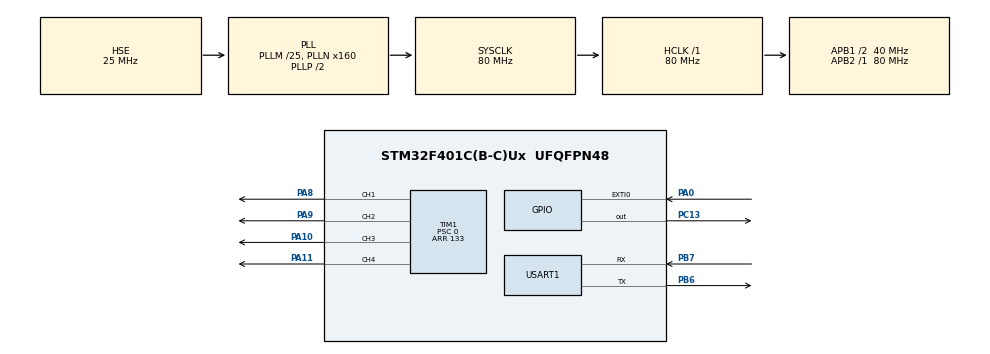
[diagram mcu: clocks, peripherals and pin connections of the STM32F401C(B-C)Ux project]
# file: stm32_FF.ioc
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Dma.MEMTOMEM.2.Direction=DMA_MEMORY_TO_MEMORY
Dma.MEMTOMEM.2.FIFOMode=DMA_FIFOMODE_ENABLE
Dma.MEMTOMEM.2.FIFOThreshold=DMA_FIFO_THRESHOLD_FULL
Dma.MEMTOMEM.2.Instance=DMA2_Stream0
Dma.MEMTOMEM.2.MemBurst=DMA_MBURST_SINGLE
Dma.MEMTOMEM.2.MemDataAlignment=DMA_MDATAALIGN_BYTE
Dma.MEMTOMEM.2.MemInc=DMA_MINC_ENABLE
Dma.MEMTOMEM.2.Mode=DMA_NORMAL
Dma.MEMTOMEM.2.PeriphBurst=DMA_PBURST_SINGLE
Dma.MEMTOMEM.2.PeriphDataAlignment=DMA_PDATAALIGN_BYTE
Dma.MEMTOMEM.2.PeriphInc=DMA_PINC_DISABLE
Dma.MEMTOMEM.2.Priority=DMA_PRIORITY_LOW
Dma.Request0=USART1_RX
Dma.Request1=USART1_TX
Dma.Request2=MEMTOMEM
Dma.Request3=TIM1_CH1
Dma.Request4=TIM1_CH2
Dma.Request5=TIM1_CH3
Dma.Request6=TIM1_CH4/TRIG/COM
Dma.TIM1_CH1.3.Direction=DMA_MEMORY_TO_PERIPH
Dma.TIM1_CH1.3.FIFOMode=DMA_FIFOMODE_DISABLE
Dma.TIM1_CH1.3.Instance=DMA2_Stream1
Dma.TIM1_CH1.3.MemDataAlignment=DMA_MDATAALIGN_HALFWORD
Dma.TIM1_CH1.3.MemInc=DMA_MINC_ENABLE
Dma.TIM1_CH1.3.Mode=DMA_NORMAL
Dma.TIM1_CH1.3.PeriphDataAlignment=DMA_PDATAALIGN_HALFWORD
Dma.TIM1_CH1.3.PeriphInc=DMA_PINC_DISABLE
Dma.TIM1_CH1.3.Priority=DMA_PRIORITY_HIGH
Dma.TIM1_CH2.4.Direction=DMA_MEMORY_TO_PERIPH
Dma.TIM1_CH2.4.FIFOMode=DMA_FIFOMODE_DISABLE
Dma.TIM1_CH2.4.Instance=DMA2_Stream2
Dma.TIM1_CH2.4.MemDataAlignment=DMA_MDATAALIGN_HALFWORD
Dma.TIM1_CH2.4.MemInc=DMA_MINC_ENABLE
Dma.TIM1_CH2.4.Mode=DMA_NORMAL
Dma.TIM1_CH2.4.PeriphDataAlignment=DMA_PDATAALIGN_HALFWORD
Dma.TIM1_CH2.4.PeriphInc=DMA_PINC_DISABLE
Dma.TIM1_CH2.4.Priority=DMA_PRIORITY_HIGH
Dma.TIM1_CH3.5.Direction=DMA_MEMORY_TO_PERIPH
Dma.TIM1_CH3.5.FIFOMode=DMA_FIFOMODE_DISABLE
Dma.TIM1_CH3.5.Instance=DMA2_Stream6
Dma.TIM1_CH3.5.MemDataAlignment=DMA_MDATAALIGN_HALFWORD
Dma.TIM1_CH3.5.MemInc=DMA_MINC_ENABLE
Dma.TIM1_CH3.5.Mode=DMA_NORMAL
Dma.TIM1_CH3.5.PeriphDataAlignment=DMA_PDATAALIGN_HALFWORD
Dma.TIM1_CH3.5.PeriphInc=DMA_PINC_DISABLE
Dma.TIM1_CH3.5.Priority=DMA_PRIORITY_HIGH
Dma.TIM1_CH4/TRIG/COM.6.Direction=DMA_MEMORY_TO_PERIPH
Dma.TIM1_CH4/TRIG/COM.6.FIFOMode=DMA_FIFOMODE_DISABLE
Dma.TIM1_CH4/TRIG/COM.6.Instance=DMA2_Stream4
Dma.TIM1_CH4/TRIG/COM.6.MemDataAlignment=DMA_MDATAALIGN_HALFWORD
Dma.TIM1_CH4/TRIG/COM.6.MemInc=DMA_MINC_ENABLE
Dma.TIM1_CH4/TRIG/COM.6.Mode=DMA_NORMAL
Dma.TIM1_CH4/TRIG/COM.6.PeriphDataAlignment=DMA_PDATAALIGN_HALFWORD
Dma.TIM1_CH4/TRIG/COM.6.PeriphInc=DMA_PINC_DISABLE
Dma.TIM1_CH4/TRIG/COM.6.Priority=DMA_PRIORITY_HIGH
Dma.USART1_RX.0.Direction=DMA_PERIPH_TO_MEMORY
Dma.USART1_RX.0.FIFOMode=DMA_FIFOMODE_DISABLE
Dma.USART1_RX.0.Instance=DMA2_Stream5
Dma.USART1_RX.0.MemDataAlignment=DMA_MDATAALIGN_BYTE
Dma.USART1_RX.0.MemInc=DMA_MINC_ENABLE
Dma.USART1_RX.0.Mode=DMA_CIRCULAR
Dma.USART1_RX.0.PeriphDataAlignment=DMA_PDATAALIGN_BYTE
Dma.USART1_RX.0.PeriphInc=DMA_PINC_DISABLE
Dma.USART1_RX.0.Priority=DMA_PRIORITY_MEDIUM
Dma.USART1_TX.1.Direction=DMA_MEMORY_TO_PERIPH
Dma.USART1_TX.1.FIFOMode=DMA_FIFOMODE_DISABLE
Dma.USART1_TX.1.Instance=DMA2_Stream7
Dma.USART1_TX.1.MemDataAlignment=DMA_MDATAALIGN_BYTE
Dma.USART1_TX.1.MemInc=DMA_MINC_ENABLE
Dma.USART1_TX.1.Mode=DMA_NORMAL
Dma.USART1_TX.1.PeriphDataAlignment=DMA_PDATAALIGN_BYTE
Dma.USART1_TX.1.PeriphInc=DMA_PINC_DISABLE
Dma.USART1_TX.1.Priority=DMA_PRIORITY_LOW
Mcu.Family=STM32F4
Mcu.Name=STM32F401C(B-C)Ux
Mcu.Package=UFQFPN48
NVIC.DMA2_Stream1_IRQn=true\:0\:0\:false\:false\:true\:false\:true\:true
NVIC.DMA2_Stream2_IRQn=true\:0\:0\:false\:false\:true\:false\:true\:true
NVIC.DMA2_Stream4_IRQn=true\:0\:0\:false\:false\:true\:false\:true\:true
NVIC.DMA2_Stream5_IRQn=true\:0\:0\:false\:false\:true\:false\:true\:true
NVIC.DMA2_Stream6_IRQn=true\:0\:0\:false\:false\:true\:false\:true\:true
NVIC.DMA2_Stream7_IRQn=true\:0\:0\:false\:false\:true\:false\:true\:true
NVIC.EXTI0_IRQn=true\:0\:0\:false\:false\:true\:true\:true\:true
NVIC.PriorityGroup=NVIC_PRIORITYGROUP_4
NVIC.TIM2_IRQn=true\:0\:0\:false\:false\:true\:true\:true\:true
NVIC.USART1_IRQn=true\:0\:0\:false\:false\:true\:true\:true\:true
PA0-WKUP.GPIO_PuPd=GPIO_PULLUP
PA0-WKUP.Signal=GPXTI0
PA10.Signal=S_TIM1_CH3
PA11.Signal=S_TIM1_CH4
PA13.Mode=Trace_Asynchronous_SW
PA13.Signal=SYS_JTMS-SWDIO
PA14.Mode=Trace_Asynchronous_SW
PA14.Signal=SYS_JTCK-SWCLK
PA8.Signal=S_TIM1_CH1
PA9.Signal=S_TIM1_CH2
PB3.Mode=Trace_Asynchronous_SW
PB3.Signal=SYS_JTDO-SWO
PB6.Mode=Asynchronous
PB6.Signal=USART1_TX
PB7.Mode=Asynchronous
PB7.Signal=USART1_RX
PC13-ANTI_TAMP.Signal=GPIO_Output
PH0\ -\ OSC_IN.Mode=HSE-External-Oscillator
PH0\ -\ OSC_IN.Signal=RCC_OSC_IN
PH1\ -\ OSC_OUT.Mode=HSE-External-Oscillator
PH1\ -\ OSC_OUT.Signal=RCC_OSC_OUT
ProjectManager.HeapSize=0x200
ProjectManager.StackSize=0x400
ProjectManager.TargetToolchain=STM32CubeIDE
RCC.48MHZClocksFreq_Value=40000000
RCC.AHBFreq_Value=80000000
RCC.APB1CLKDivider=RCC_HCLK_DIV2
RCC.APB1Freq_Value=40000000
RCC.APB1TimFreq_Value=80000000
RCC.APB2Freq_Value=80000000
RCC.APB2TimFreq_Value=80000000
RCC.CortexFreq_Value=80000000
RCC.EnbaleCSS=true
RCC.HCLKFreq_Value=80000000
RCC.HSE_VALUE=25000000
RCC.HSI_VALUE=16000000
RCC.LSE_VALUE=32768
RCC.PLLM=25
RCC.PLLN=160
RCC.PLLSourceVirtual=RCC_PLLSOURCE_HSE
RCC.SYSCLKFreq_VALUE=80000000
RCC.SYSCLKSource=RCC_SYSCLKSOURCE_PLLCLK
RCC.VCOOutputFreq_Value=160000000
SH.S_TIM1_CH1.0=TIM1_CH1,PWM Generation1 CH1
SH.S_TIM1_CH2.0=TIM1_CH2,PWM Generation2 CH2
SH.S_TIM1_CH3.0=TIM1_CH3,PWM Generation3 CH3
SH.S_TIM1_CH4.0=TIM1_CH4,PWM Generation4 CH4
TIM1.Channel-PWM\ Generation1\ CH1=TIM_CHANNEL_1
TIM1.Channel-PWM\ Generation2\ CH2=TIM_CHANNEL_2
TIM1.Channel-PWM\ Generation3\ CH3=TIM_CHANNEL_3
TIM1.Channel-PWM\ Generation4\ CH4=TIM_CHANNEL_4
TIM1.Period=133
TIM1.Prescaler=0
TIM2.AutoReloadPreload=TIM_AUTORELOAD_PRELOAD_ENABLE
TIM2.Period=2308
USART1.VirtualMode=VM_ASYNC
VP_TIM2_VS_ClockSourceINT.Mode=Internal
VP_TIM2_VS_ClockSourceITR.Mode=TriggerSource_ITR0
board=custom

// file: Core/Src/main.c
/* USER CODE BEGIN Header */
/**
 ******************************************************************************
 * @file           : main.c
 * @brief          : Main program body
 ******************************************************************************
 * @attention
 *
 * Copyright (c) 2022 STMicroelectronics.
 * All rights reserved.
 *
 * This software is licensed under terms that can be found in the LICENSE file
 * in the root directory of this software component.
 * If no LICENSE file comes with this software, it is provided AS-IS.
 *
 ******************************************************************************
 */
/* USER CODE END Header */
#include "main.h"

TIM_HandleTypeDef htim1;
TIM_HandleTypeDef htim2;
DMA_HandleTypeDef hdma_tim1_ch1;
DMA_HandleTypeDef hdma_tim1_ch2;
DMA_HandleTypeDef hdma_tim1_ch3;
DMA_HandleTypeDef hdma_tim1_ch4_trig_com;

UART_HandleTypeDef huart1;
DMA_HandleTypeDef hdma_usart1_rx;
DMA_HandleTypeDef hdma_usart1_tx;

DMA_HandleTypeDef hdma_memtomem_dma2_stream0;

void SystemClock_Config(void);
static void MX_GPIO_Init(void);
static void MX_DMA_Init(void);
static void MX_USART1_UART_Init(void);
static void MX_TIM1_Init(void);
static void MX_TIM2_Init(void);
/* USER CODE BEGIN PFP */
#define ESC_BIT_0         50
#define ESC_BIT_1         100
#define ESC_CMD_BUF_LEN   18
#define MIN_THROTTLE      48
#define MAX_THROTTLE      2047
uint16_t ESC_CMD_MOTOR1[ESC_CMD_BUF_LEN] = {0};
uint16_t ESC_CMD_MOTOR2[ESC_CMD_BUF_LEN] = {0};
uint16_t ESC_CMD_MOTOR3[ESC_CMD_BUF_LEN] = {0};
uint16_t ESC_CMD_MOTOR4[ESC_CMD_BUF_LEN] = {0};

uint8_t send_dshot_to_esc = 0;
uint8_t key_pressed = 0;
/* USER CODE END PFP */

/* USER CODE BEGIN 0 */

void HAL_GPIO_EXTI_Callback(uint16_t GPIO_Pin) {
	DelayUs(5000);
	if (HAL_GPIO_ReadPin(GPIOA, GPIO_PIN_0)) {
		key_pressed ++;
	}
}

void DelayUs(uint32_t us) {
	for (;us > 0; --us) {
		for (uint16_t j = 3; j > 0; j--);
	}
}

static void prepareDshotPacket(const uint16_t elememt, uint16_t *esc_cmd)
{
    uint8_t requestTelemetry = 0;
    uint16_t value = elememt;
    value = ( (value > 2047) ? 2047 : value );
    // 油门大小为11位  所以这里先左移一位 添加上请求回传标志共12位
    uint16_t packet = (value << 1) | requestTelemetry;

    // 将12位数据分为3组 每组4位, 进行异或
    // compute checksum
    int csum = 0;
    int csum_data = packet;
    for (int i = 0; i < 3; i++) {
        csum ^=  csum_data;   // xor data by nibbles
        csum_data >>= 4;
    }
    //取最后四位 其他的不要
    csum &= 0xf;
    // append checksum 将CRC添加到后四位
    packet = (packet << 4) | csum;

    esc_cmd[0]  = (packet & 0x8000) ? ESC_BIT_1 : ESC_BIT_0;
    esc_cmd[1]  = (packet & 0x4000) ? ESC_BIT_1 : ESC_BIT_0;
    esc_cmd[2]  = (packet & 0x2000) ? ESC_BIT_1 : ESC_BIT_0;
    esc_cmd[3]  = (packet & 0x1000) ? ESC_BIT_1 : ESC_BIT_0;
    esc_cmd[4]  = (packet & 0x0800) ? ESC_BIT_1 : ESC_BIT_0;
    esc_cmd[5]  = (packet & 0x0400) ? ESC_BIT_1 : ESC_BIT_0;
    esc_cmd[6]  = (packet & 0x0200) ? ESC_BIT_1 : ESC_BIT_0;
    esc_cmd[7]  = (packet & 0x0100) ? ESC_BIT_1 : ESC_BIT_0;
    esc_cmd[8]  = (packet & 0x0080) ? ESC_BIT_1 : ESC_BIT_0;
    esc_cmd[9]  = (packet & 0x0040) ? ESC_BIT_1 : ESC_BIT_0;
    esc_cmd[10] = (packet & 0x0020) ? ESC_BIT_1 : ESC_BIT_0;
    esc_cmd[11] = (packet & 0x0010) ? ESC_BIT_1 : ESC_BIT_0;
    esc_cmd[12] = (packet & 0x8) ? ESC_BIT_1 : ESC_BIT_0;
    esc_cmd[13] = (packet & 0x4) ? ESC_BIT_1 : ESC_BIT_0;
    esc_cmd[14] = (packet & 0x2) ? ESC_BIT_1 : ESC_BIT_0;
    esc_cmd[15] = (packet & 0x1) ? ESC_BIT_1 : ESC_BIT_0;
}

static void SendDshotPacket()
{
  HAL_TIM_Base_Stop_IT(&htim2);
  HAL_TIM_PWM_Start_DMA(&htim1,TIM_CHANNEL_1,(uint32_t *)ESC_CMD_MOTOR1,ESC_CMD_BUF_LEN);
  HAL_TIM_PWM_Start_DMA(&htim1,TIM_CHANNEL_2,(uint32_t *)ESC_CMD_MOTOR2,ESC_CMD_BUF_LEN);
  HAL_TIM_PWM_Start_DMA(&htim1,TIM_CHANNEL_3,(uint32_t *)ESC_CMD_MOTOR3,ESC_CMD_BUF_LEN);
  HAL_TIM_PWM_Start_DMA(&htim1,TIM_CHANNEL_4,(uint32_t *)ESC_CMD_MOTOR4,ESC_CMD_BUF_LEN);
}

void HAL_TIM_PWM_PulseFinishedCallback(TIM_HandleTypeDef *htim)
{
  HAL_TIM_Base_Start_IT(&htim2);
}

void HAL_TIM_PeriodElapsedCallback(TIM_HandleTypeDef *htim) {
  if (htim == &htim2) {
    send_dshot_to_esc = 1;
  }
}

/* USER CODE END 0 */

int main(void)
{

  /* MCU Configuration--------------------------------------------------------*/

  /* Reset of all peripherals, Initializes the Flash interface and the Systick. */
  HAL_Init();

  /* Configure the system clock */
  SystemClock_Config();

  /* Initialize all configured peripherals */
  MX_GPIO_Init();
  MX_DMA_Init();
  MX_USART1_UART_Init();
  MX_TIM1_Init();
  MX_TIM2_Init();
  /* USER CODE BEGIN 2 */
  prepareDshotPacket(MIN_THROTTLE, ESC_CMD_MOTOR1);
  HAL_TIM_Base_Start_IT(&htim2);
  /* USER CODE END 2 */

  /* Infinite loop */
	while (1) {

    /* USER CODE BEGIN 3 */
		if (key_pressed == 1) {
			prepareDshotPacket(100, ESC_CMD_MOTOR1);
		} else if (key_pressed == 2) {
			key_pressed = 0;
			prepareDshotPacket(200, ESC_CMD_MOTOR1);
		}
		if (send_dshot_to_esc) {
		  send_dshot_to_esc = 0;
		  SendDshotPacket();
		}

    /* USER CODE BEGIN 3 */
	}
  /* USER CODE END 3 */
}

void SystemClock_Config(void)
{
  RCC_OscInitTypeDef RCC_OscInitStruct = {0};
  RCC_ClkInitTypeDef RCC_ClkInitStruct = {0};

  /** Configure the main internal regulator output voltage
  */
  __HAL_RCC_PWR_CLK_ENABLE();
  __HAL_PWR_VOLTAGESCALING_CONFIG(PWR_REGULATOR_VOLTAGE_SCALE2);

  /** Initializes the RCC Oscillators according to the specified parameters
  * in the RCC_OscInitTypeDef structure.
  */
  RCC_OscInitStruct.OscillatorType = RCC_OSCILLATORTYPE_HSE;
  RCC_OscInitStruct.HSEState = RCC_HSE_ON;
  RCC_OscInitStruct.PLL.PLLState = RCC_PLL_ON;
  RCC_OscInitStruct.PLL.PLLSource = RCC_PLLSOURCE_HSE;
  RCC_OscInitStruct.PLL.PLLM = 25;
  RCC_OscInitStruct.PLL.PLLN = 160;
  RCC_OscInitStruct.PLL.PLLP = RCC_PLLP_DIV2;
  RCC_OscInitStruct.PLL.PLLQ = 4;
  if (HAL_RCC_OscConfig(&RCC_OscInitStruct) != HAL_OK)
  {
    Error_Handler();
  }

  /** Initializes the CPU, AHB and APB buses clocks
  */
  RCC_ClkInitStruct.ClockType = RCC_CLOCKTYPE_HCLK|RCC_CLOCKTYPE_SYSCLK
                              |RCC_CLOCKTYPE_PCLK1|RCC_CLOCKTYPE_PCLK2;
  RCC_ClkInitStruct.SYSCLKSource = RCC_SYSCLKSOURCE_PLLCLK;
  RCC_ClkInitStruct.AHBCLKDivider = RCC_SYSCLK_DIV1;
  RCC_ClkInitStruct.APB1CLKDivider = RCC_HCLK_DIV2;
  RCC_ClkInitStruct.APB2CLKDivider = RCC_HCLK_DIV1;

  if (HAL_RCC_ClockConfig(&RCC_ClkInitStruct, FLASH_LATENCY_2) != HAL_OK)
  {
    Error_Handler();
  }

  /** Enables the Clock Security System
  */
  HAL_RCC_EnableCSS();
}

static void MX_TIM1_Init(void)
{

  TIM_MasterConfigTypeDef sMasterConfig = {0};
  TIM_OC_InitTypeDef sConfigOC = {0};
  TIM_BreakDeadTimeConfigTypeDef sBreakDeadTimeConfig = {0};

  htim1.Instance = TIM1;
  htim1.Init.Prescaler = 0;
  htim1.Init.CounterMode = TIM_COUNTERMODE_UP;
  htim1.Init.Period = 133;
  htim1.Init.ClockDivision = TIM_CLOCKDIVISION_DIV1;
  htim1.Init.RepetitionCounter = 0;
  htim1.Init.AutoReloadPreload = TIM_AUTORELOAD_PRELOAD_DISABLE;
  if (HAL_TIM_PWM_Init(&htim1) != HAL_OK)
  {
    Error_Handler();
  }
  sMasterConfig.MasterOutputTrigger = TIM_TRGO_RESET;
  sMasterConfig.MasterSlaveMode = TIM_MASTERSLAVEMODE_DISABLE;
  if (HAL_TIMEx_MasterConfigSynchronization(&htim1, &sMasterConfig) != HAL_OK)
  {
    Error_Handler();
  }
  sConfigOC.OCMode = TIM_OCMODE_PWM1;
  sConfigOC.Pulse = 0;
  sConfigOC.OCPolarity = TIM_OCPOLARITY_HIGH;
  sConfigOC.OCNPolarity = TIM_OCNPOLARITY_HIGH;
  sConfigOC.OCFastMode = TIM_OCFAST_DISABLE;
  sConfigOC.OCIdleState = TIM_OCIDLESTATE_RESET;
  sConfigOC.OCNIdleState = TIM_OCNIDLESTATE_RESET;
  if (HAL_TIM_PWM_ConfigChannel(&htim1, &sConfigOC, TIM_CHANNEL_1) != HAL_OK)
  {
    Error_Handler();
  }
  if (HAL_TIM_PWM_ConfigChannel(&htim1, &sConfigOC, TIM_CHANNEL_2) != HAL_OK)
  {
    Error_Handler();
  }
  if (HAL_TIM_PWM_ConfigChannel(&htim1, &sConfigOC, TIM_CHANNEL_3) != HAL_OK)
  {
    Error_Handler();
  }
  if (HAL_TIM_PWM_ConfigChannel(&htim1, &sConfigOC, TIM_CHANNEL_4) != HAL_OK)
  {
    Error_Handler();
  }
  sBreakDeadTimeConfig.OffStateRunMode = TIM_OSSR_DISABLE;
  sBreakDeadTimeConfig.OffStateIDLEMode = TIM_OSSI_DISABLE;
  sBreakDeadTimeConfig.LockLevel = TIM_LOCKLEVEL_OFF;
  sBreakDeadTimeConfig.DeadTime = 0;
  sBreakDeadTimeConfig.BreakState = TIM_BREAK_DISABLE;
  sBreakDeadTimeConfig.BreakPolarity = TIM_BREAKPOLARITY_HIGH;
  sBreakDeadTimeConfig.AutomaticOutput = TIM_AUTOMATICOUTPUT_DISABLE;
  if (HAL_TIMEx_ConfigBreakDeadTime(&htim1, &sBreakDeadTimeConfig) != HAL_OK)
  {
    Error_Handler();
  }
  HAL_TIM_MspPostInit(&htim1);

}

static void MX_TIM2_Init(void)
{

  TIM_ClockConfigTypeDef sClockSourceConfig = {0};
  TIM_SlaveConfigTypeDef sSlaveConfig = {0};
  TIM_MasterConfigTypeDef sMasterConfig = {0};

  htim2.Instance = TIM2;
  htim2.Init.Prescaler = 0;
  htim2.Init.CounterMode = TIM_COUNTERMODE_UP;
  // 定时周期510.333us
  htim2.Init.Period = 40000;
  htim2.Init.ClockDivision = TIM_CLOCKDIVISION_DIV1;
  htim2.Init.AutoReloadPreload = TIM_AUTORELOAD_PRELOAD_ENABLE;
  if (HAL_TIM_Base_Init(&htim2) != HAL_OK)
  {
    Error_Handler();
  }
  sClockSourceConfig.ClockSource = TIM_CLOCKSOURCE_INTERNAL;
  if (HAL_TIM_ConfigClockSource(&htim2, &sClockSourceConfig) != HAL_OK)
  {
    Error_Handler();
  }
  sSlaveConfig.SlaveMode = TIM_SLAVEMODE_DISABLE;
  sSlaveConfig.InputTrigger = TIM_TS_ITR0;
  if (HAL_TIM_SlaveConfigSynchro(&htim2, &sSlaveConfig) != HAL_OK)
  {
    Error_Handler();
  }
  sMasterConfig.MasterOutputTrigger = TIM_TRGO_RESET;
  sMasterConfig.MasterSlaveMode = TIM_MASTERSLAVEMODE_DISABLE;
  if (HAL_TIMEx_MasterConfigSynchronization(&htim2, &sMasterConfig) != HAL_OK)
  {
    Error_Handler();
  }

}

static void MX_USART1_UART_Init(void)
{

  huart1.Instance = USART1;
  huart1.Init.BaudRate = 115200;
  huart1.Init.WordLength = UART_WORDLENGTH_8B;
  huart1.Init.StopBits = UART_STOPBITS_1;
  huart1.Init.Parity = UART_PARITY_NONE;
  huart1.Init.Mode = UART_MODE_TX_RX;
  huart1.Init.HwFlowCtl = UART_HWCONTROL_NONE;
  huart1.Init.OverSampling = UART_OVERSAMPLING_16;
  if (HAL_UART_Init(&huart1) != HAL_OK)
  {
    Error_Handler();
  }

}

static void MX_DMA_Init(void)
{

  /* DMA controller clock enable */
  __HAL_RCC_DMA2_CLK_ENABLE();

  /* Configure DMA request hdma_memtomem_dma2_stream0 on DMA2_Stream0 */
  hdma_memtomem_dma2_stream0.Instance = DMA2_Stream0;
  hdma_memtomem_dma2_stream0.Init.Channel = DMA_CHANNEL_0;
  hdma_memtomem_dma2_stream0.Init.Direction = DMA_MEMORY_TO_MEMORY;
  hdma_memtomem_dma2_stream0.Init.PeriphInc = DMA_PINC_DISABLE;
  hdma_memtomem_dma2_stream0.Init.MemInc = DMA_MINC_ENABLE;
  hdma_memtomem_dma2_stream0.Init.PeriphDataAlignment = DMA_PDATAALIGN_BYTE;
  hdma_memtomem_dma2_stream0.Init.MemDataAlignment = DMA_MDATAALIGN_BYTE;
  hdma_memtomem_dma2_stream0.Init.Mode = DMA_NORMAL;
  hdma_memtomem_dma2_stream0.Init.Priority = DMA_PRIORITY_LOW;
  hdma_memtomem_dma2_stream0.Init.FIFOMode = DMA_FIFOMODE_ENABLE;
  hdma_memtomem_dma2_stream0.Init.FIFOThreshold = DMA_FIFO_THRESHOLD_FULL;
  hdma_memtomem_dma2_stream0.Init.MemBurst = DMA_MBURST_SINGLE;
  hdma_memtomem_dma2_stream0.Init.PeriphBurst = DMA_PBURST_SINGLE;
  if (HAL_DMA_Init(&hdma_memtomem_dma2_stream0) != HAL_OK)
  {
    Error_Handler( );
  }

  /* DMA interrupt init */
  /* DMA2_Stream1_IRQn interrupt configuration */
  HAL_NVIC_SetPriority(DMA2_Stream1_IRQn, 0, 0);
  HAL_NVIC_EnableIRQ(DMA2_Stream1_IRQn);
  /* DMA2_Stream2_IRQn interrupt configuration */
  HAL_NVIC_SetPriority(DMA2_Stream2_IRQn, 0, 0);
  HAL_NVIC_EnableIRQ(DMA2_Stream2_IRQn);
  /* DMA2_Stream4_IRQn interrupt configuration */
  HAL_NVIC_SetPriority(DMA2_Stream4_IRQn, 0, 0);
  HAL_NVIC_EnableIRQ(DMA2_Stream4_IRQn);
  /* DMA2_Stream5_IRQn interrupt configuration */
  HAL_NVIC_SetPriority(DMA2_Stream5_IRQn, 0, 0);
  HAL_NVIC_EnableIRQ(DMA2_Stream5_IRQn);
  /* DMA2_Stream6_IRQn interrupt configuration */
  HAL_NVIC_SetPriority(DMA2_Stream6_IRQn, 0, 0);
  HAL_NVIC_EnableIRQ(DMA2_Stream6_IRQn);
  /* DMA2_Stream7_IRQn interrupt configuration */
  HAL_NVIC_SetPriority(DMA2_Stream7_IRQn, 0, 0);
  HAL_NVIC_EnableIRQ(DMA2_Stream7_IRQn);

}

static void MX_GPIO_Init(void)
{
  GPIO_InitTypeDef GPIO_InitStruct = {0};

  /* GPIO Ports Clock Enable */
  __HAL_RCC_GPIOC_CLK_ENABLE();
  __HAL_RCC_GPIOH_CLK_ENABLE();
  __HAL_RCC_GPIOA_CLK_ENABLE();
  __HAL_RCC_GPIOB_CLK_ENABLE();

  /*Configure GPIO pin Output Level */
  HAL_GPIO_WritePin(GPIOC, GPIO_PIN_13, GPIO_PIN_RESET);

  /*Configure GPIO pin : PC13 */
  GPIO_InitStruct.Pin = GPIO_PIN_13;
  GPIO_InitStruct.Mode = GPIO_MODE_OUTPUT_PP;
  GPIO_InitStruct.Pull = GPIO_NOPULL;
  GPIO_InitStruct.Speed = GPIO_SPEED_FREQ_LOW;
  HAL_GPIO_Init(GPIOC, &GPIO_InitStruct);

  /*Configure GPIO pins : PC14 PC15 */
  GPIO_InitStruct.Pin = GPIO_PIN_14|GPIO_PIN_15;
  GPIO_InitStruct.Mode = GPIO_MODE_ANALOG;
  GPIO_InitStruct.Pull = GPIO_NOPULL;
  HAL_GPIO_Init(GPIOC, &GPIO_InitStruct);

  /*Configure GPIO pin : PA0 */
  GPIO_InitStruct.Pin = GPIO_PIN_0;
  GPIO_InitStruct.Mode = GPIO_MODE_IT_RISING;
  GPIO_InitStruct.Pull = GPIO_PULLUP;
  HAL_GPIO_Init(GPIOA, &GPIO_InitStruct);

  /*Configure GPIO pins : PA1 PA2 PA3 PA4
                           PA5 PA6 PA7 PA12
                           PA15 */
  GPIO_InitStruct.Pin = GPIO_PIN_1|GPIO_PIN_2|GPIO_PIN_3|GPIO_PIN_4
                          |GPIO_PIN_5|GPIO_PIN_6|GPIO_PIN_7|GPIO_PIN_12
                          |GPIO_PIN_15;
  GPIO_InitStruct.Mode = GPIO_MODE_ANALOG;
  GPIO_InitStruct.Pull = GPIO_NOPULL;
  HAL_GPIO_Init(GPIOA, &GPIO_InitStruct);

  /*Configure GPIO pins : PB0 PB1 PB2 PB10
                           PB12 PB13 PB14 PB15
                           PB4 PB5 PB8 PB9 */
  GPIO_InitStruct.Pin = GPIO_PIN_0|GPIO_PIN_1|GPIO_PIN_2|GPIO_PIN_10
                          |GPIO_PIN_12|GPIO_PIN_13|GPIO_PIN_14|GPIO_PIN_15
                          |GPIO_PIN_4|GPIO_PIN_5|GPIO_PIN_8|GPIO_PIN_9;
  GPIO_InitStruct.Mode = GPIO_MODE_ANALOG;
  GPIO_InitStruct.Pull = GPIO_NOPULL;
  HAL_GPIO_Init(GPIOB, &GPIO_InitStruct);

  /* EXTI interrupt init*/
  HAL_NVIC_SetPriority(EXTI0_IRQn, 0, 0);
  HAL_NVIC_EnableIRQ(EXTI0_IRQn);

}

void Error_Handler(void)
{
	__disable_irq();
	while (1) {
	}
}
